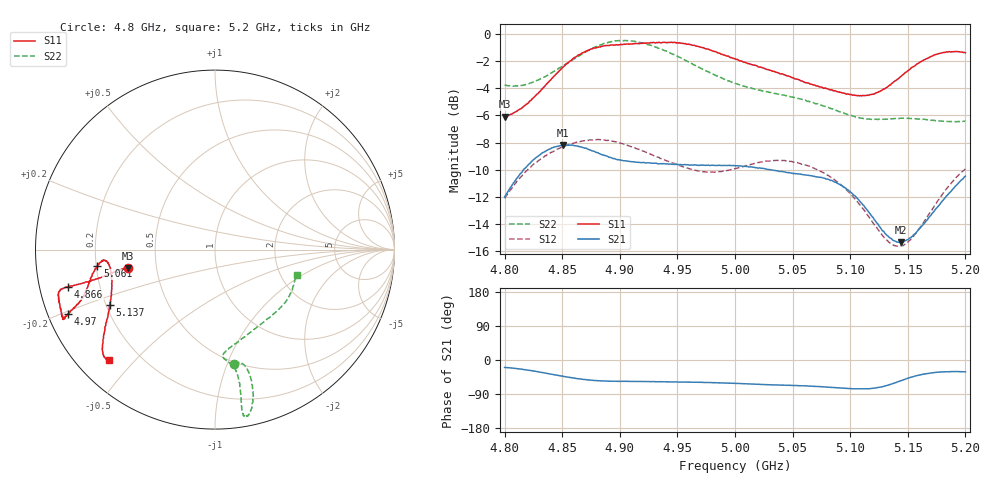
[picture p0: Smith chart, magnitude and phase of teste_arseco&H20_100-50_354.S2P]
! Network Analyzer HP8722D
! Hewlett-Packard
! Data name: Linha & Wilkinson
! Saver's name: Rodrigo Anjos
! Comments: Teste da utilização de aquisição
! continua pelo VNA HP8722D
! Time and date: 6/5/2025 15:31
!  Frequency  S11  S21  S12  S22
# HZ  S  MA R 50
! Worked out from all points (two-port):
!   401 points, 4.8 GHz to 5.2 GHz, reference 50 ohm
!   highest |S21| = -8.17 dB at 4.851 GHz (marker M1); lowest = -15.3 dB at 5.144 GHz (marker M2)
!   |S21| within 3 dB of the highest: 4.806 GHz to 5.093 GHz (287 MHz wide, 5.8 % of centre); 5.191771 GHz to end of sweep
!   lowest |S11| = -6.1 dB at 4.8 GHz (marker M3), VSWR 2.97, Z = 17 - j4.62 ohm
!   |S11| at or under -10 dB: nowhere
!   |S22| runs from -6.5 to -0.5 dB; largest |S21 - S12| = 0.62
!   S11 on the Smith chart (normalised r, x): 4.8 GHz: 0.34, -0.09; 4.866 GHz: 0.09, -0.12; 4.97 GHz: 0.06, -0.21; 5.061 GHz: 0.20, -0.07; 5.137 GHz: 0.22, -0.24; 5.2 GHz: 0.09, -0.43
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4.8e9  0.4963 -168.1  0.2515 -19.6  0.2485 -140.7  0.6479 -80.4
4.823e9  0.5698 -167.5  0.3383 -27.9  0.3249 -143.7  0.6602 -76.0
4.851e9  0.7559 -165.8  0.3904 -43.1  0.3846 -149.1  0.7651 -74.5
4.866e9  0.8425 -165.8  0.384 -50.2  0.4024 -151.8  0.8359 -75.2
4.867e9  0.8486 -165.9  0.3834 -50.7  0.4032 -151.8  0.8427 -75.3
4.883e9  0.8947 -165.1  0.3617 -54.9  0.4082 -154.6  0.9094 -77.0
4.899e9  0.9106 -162.7  0.3446 -56.4  0.3979 -156.6  0.9446 -78.9
4.934e9  0.9315 -156.4  0.3326 -57.5  0.3516 -155.6  0.8836 -80.4
4.97e9  0.8934 -156.2  0.3292 -59.1  0.3128 -146.9  0.7479 -79.6
5e9  0.8097 -158.9  0.3275 -61.8  0.3196 -137.1  0.6569 -81.3
5.036e9  0.7217 -165.4  0.3137 -65.9  0.3429 -134.3  0.6027 -85.7
5.061e9  0.6613 -171.9  0.3031 -68.4  0.3293 -136.2  0.5705 -84.0
5.067e9  0.6514 -173.0  0.3004 -69.0  0.3231 -136.7  0.5597 -82.7
5.083e9  0.6225 -174.5  0.2889 -72.2  0.2974 -138.1  0.5319 -76.7
5.101e9  0.5982 -172.1  0.2607 -75.8  0.2558 -138.8  0.501 -66.6
5.116e9  0.5939 -165.6  0.2218 -75.9  0.2132 -135.5  0.4861 -55.9
5.134e9  0.6465 -154.2  0.1784 -65.4  0.1708 -120.8  0.4869 -43.4
5.137e9  0.6612 -152.4  0.1743 -62.1  0.1677 -117.0  0.4873 -41.5
5.144e9  0.6971 -148.7  0.1712 -54.7  0.166 -107.7  0.4894 -37.5
5.155e9  0.7582 -144.0  0.1824 -43.5  0.1802 -94.1  0.4875 -31.9
5.174e9  0.8383 -138.5  0.2264 -32.8  0.2359 -80.3  0.4794 -23.8
5.2e9  0.8522 -133.6  0.2998 -31.2  0.3188 -76.7  0.4775 -17.6
